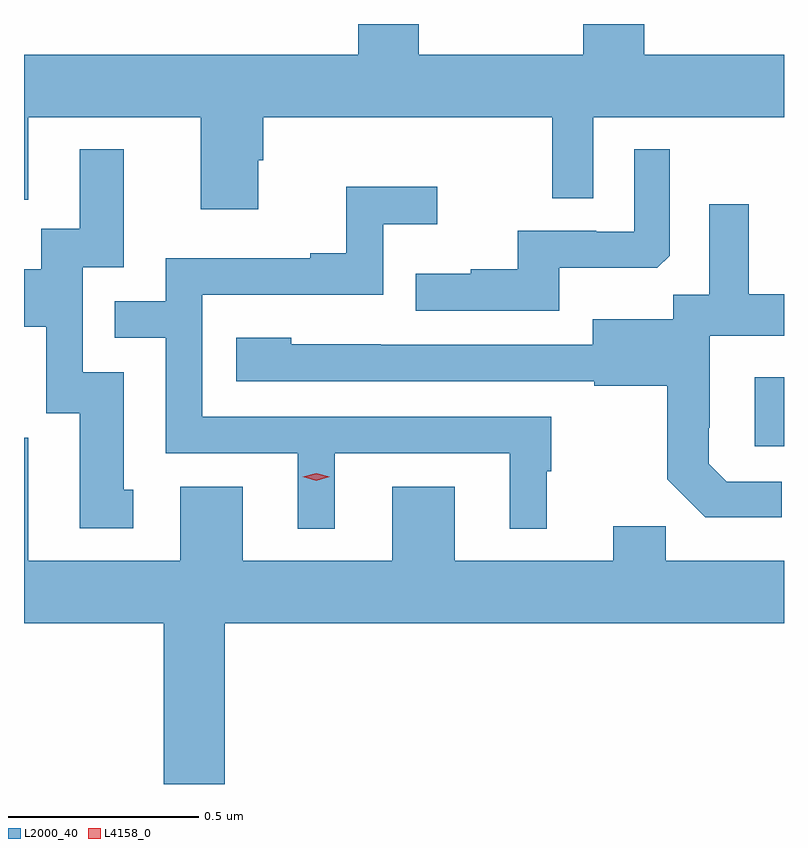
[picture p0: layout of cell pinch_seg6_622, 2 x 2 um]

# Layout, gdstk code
import gdstk
lib = gdstk.Library(unit=1e-6, precision=1e-09)
def R(c, l, rs):  # rectangles x0, y0, x1, y1
    for r in rs: c.add(gdstk.rectangle(r[:2], r[2:], *l))
def P(c, l, *ps):  # polygons
    for p in ps: c.add(gdstk.Polygon(p, *l))
L2000_40 = (2000, 40)
L4158_0 = (4158, 0)

pinch_seg6_622 = lib.new_cell('pinch_seg6_622')
R(pinch_seg6_622, L2000_40, [(392.201,986.43,392.278,986.611)])
P(pinch_seg6_622, L2000_40, [(390.895,987.183),(390.908,987.183),(390.908,987.296),(391.668,987.296),(391.668,987.082),(391.776,987.082),(391.776,987.296),(392.278,987.296),(392.278,987.46),(391.91,987.46),(391.91,987.541),(391.75,987.541),(391.75,987.46),(391.317,987.46),(391.317,987.541),(391.157,987.541),(391.157,987.46),(390.278,987.46),(390.278,987.078),(390.289,987.078),(390.289,987.296),(390.743,987.296),(390.743,987.054),(390.895,987.054)],
  [(391.687,986.9),(391.945,986.9),(391.977,986.931),(391.977,987.211),(391.884,987.211),(391.884,986.994),(391.784,986.994),(391.784,986.997),(391.577,986.997),(391.577,986.896),(391.453,986.896),(391.453,986.884),(391.309,986.884),(391.309,986.787),(391.687,986.787)],
  [(390.565,986.316),(390.541,986.316),(390.541,986.625),(390.432,986.625),(390.432,986.901),(390.541,986.901),(390.541,987.211),(390.425,987.211),(390.425,987.002),(390.324,987.002),(390.324,986.896),(390.278,986.896),(390.278,986.744),(390.336,986.744),(390.336,986.517),(390.425,986.517),(390.425,986.214),(390.565,986.214)],
  [(391.096,986.412),(391.556,986.412),(391.556,986.213),(391.654,986.213),(391.654,986.364),(391.666,986.364),(391.666,986.508),(390.747,986.508),(390.747,986.829),(391.224,986.829),(391.224,987.014),(391.366,987.014),(391.366,987.113),(391.126,987.113),(391.126,986.938),(391.031,986.938),(391.031,986.925),(390.651,986.925),(390.651,986.811),(390.517,986.811),(390.517,986.715),(390.651,986.715),(390.651,986.412),(390.998,986.412),(390.998,986.213),(391.096,986.213)],
  [(392.272,986.337),(392.127,986.337),(392.08,986.384),(392.08,986.479),(392.082,986.479),(392.082,986.72),(392.278,986.72),(392.278,986.83),(392.185,986.83),(392.185,987.067),(392.081,987.067),(392.081,986.828),(391.986,986.828),(391.986,986.764),(391.775,986.764),(391.775,986.697),(391.217,986.697),(391.217,986.698),(390.981,986.698),(390.981,986.716),(390.837,986.716),(390.837,986.601),(391.779,986.601),(391.779,986.589),(391.971,986.589),(391.971,986.343),(392.071,986.243),(392.272,986.243)],
  [(390.806,985.964),(392.278,985.964),(392.278,986.128),(391.967,986.128),(391.967,986.219),(391.829,986.219),(391.829,986.128),(391.411,986.128),(391.411,986.323),(391.247,986.323),(391.247,986.128),(390.853,986.128),(390.853,986.323),(390.689,986.323),(390.689,986.128),(390.289,986.128),(390.289,986.452),(390.278,986.452),(390.278,985.964),(390.646,985.964),(390.646,985.541),(390.806,985.541)])
P(pinch_seg6_622, L4158_0, [(391.047,986.339),(391.011,986.349),(391.011,986.349),(391.011,986.349),(391.047,986.359),(391.083,986.349),(391.083,986.349),(391.083,986.349)])

lib.write_gds('pinch_seg6_622.gds')
